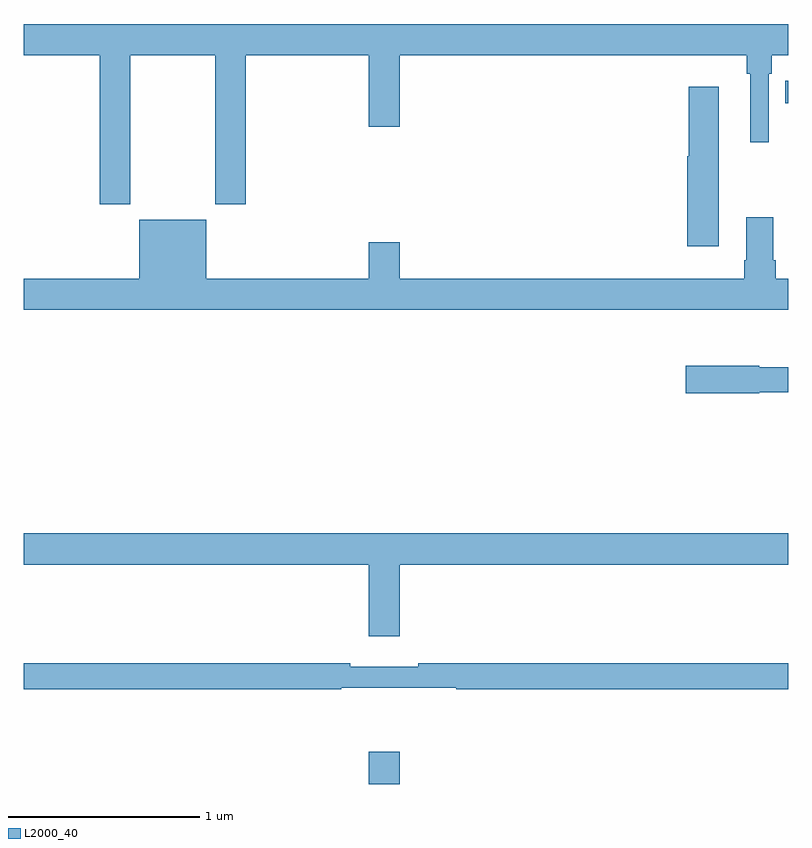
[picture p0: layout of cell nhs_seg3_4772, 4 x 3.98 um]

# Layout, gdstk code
import gdstk
lib = gdstk.Library(unit=1e-6, precision=1e-09)
def R(c, l, rs):  # rectangles x0, y0, x1, y1
    for r in rs: c.add(gdstk.rectangle(r[:2], r[2:], *l))
def P(c, l, *ps):  # polygons
    for p in ps: c.add(gdstk.Polygon(p, *l))
L2000_40 = (2000, 40)

nhs_seg3_4772 = lib.new_cell('nhs_seg3_4772')
R(nhs_seg3_4772, L2000_40, [(368.804,734.4,368.968,734.569), (370.984,737.962,371,738.078)])
P(nhs_seg3_4772, L2000_40, [(367.557,738.212),(368.002,738.212),(368.002,737.433),(368.162,737.433),(368.162,738.212),(368.804,738.212),(368.804,737.838),(368.968,737.838),(368.968,738.212),(370.783,738.212),(370.783,738.116),(370.802,738.116),(370.802,737.757),(370.899,737.757),(370.899,738.116),(370.913,738.116),(370.913,738.212),(371,738.212),(371,738.376),(367,738.376),(367,738.212),(367.397,738.212),(367.397,737.433),(367.557,737.433)],
  [(370.636,738.049),(370.478,738.049),(370.478,737.685),(370.472,737.685),(370.472,737.214),(370.636,737.214)],
  [(371,737.044),(370.934,737.044),(370.934,737.14),(370.921,737.14),(370.921,737.365),(370.781,737.365),(370.781,737.14),(370.769,737.14),(370.769,737.044),(368.968,737.044),(368.968,737.233),(368.804,737.233),(368.804,737.044),(367.954,737.044),(367.954,737.353),(367.604,737.353),(367.604,737.044),(367,737.044),(367,736.88),(371,736.88)],
  [(370.848,736.45),(371,736.45),(371,736.579),(370.848,736.579),(370.848,736.587),(370.464,736.587),(370.464,736.445),(370.848,736.445)],
  [(368.968,735.548),(371,735.548),(371,735.712),(367,735.712),(367,735.548),(368.804,735.548),(368.804,735.174),(368.968,735.174)],
  [(368.662,734.904),(369.262,734.904),(369.262,734.896),(371,734.896),(371,735.032),(369.064,735.032),(369.064,735.013),(368.708,735.013),(368.708,735.032),(367,735.032),(367,734.896),(368.662,734.896)])

lib.write_gds('nhs_seg3_4772.gds')
